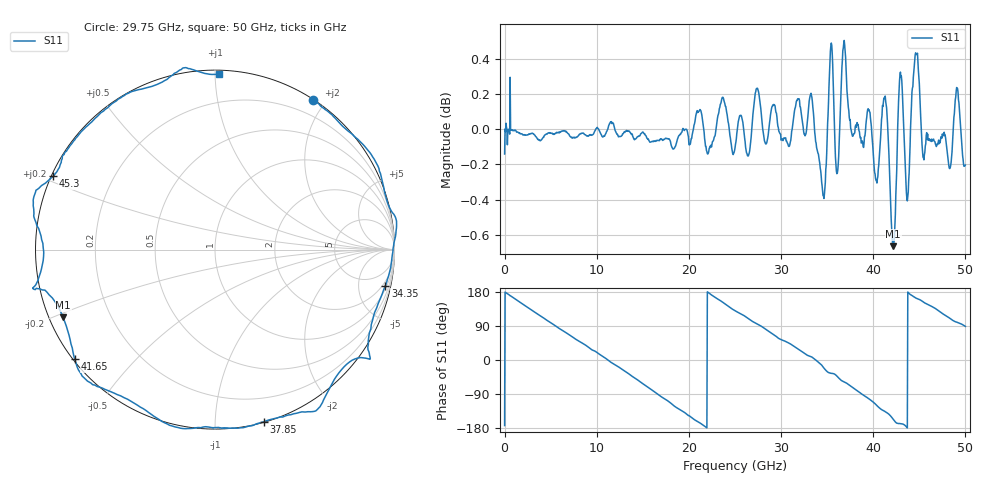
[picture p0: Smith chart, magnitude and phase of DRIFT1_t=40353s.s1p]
!Created with skrf (http://scikit-rf.org).
# Hz S RI R 50.0
!freq ReS11 ImS11
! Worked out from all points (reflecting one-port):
!   1001 points, 300 kHz to 50 GHz, reference 50 ohm
!   lowest |S11| = -0.7 dB at 42.15 GHz (marker M1), VSWR 26.17, Z = 2 - j10.6 ohm
!   phase of S11 starts at -173 deg and turns -818 deg over the sweep
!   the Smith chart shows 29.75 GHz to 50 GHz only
!   S11 on the Smith chart (normalised r, x): 29.75 GHz: 0.00, +1.85; 34.35 GHz: 1.37, -9.34; 37.85 GHz: 0.00, -1.32; 41.65 GHz: 0.01, -0.34; 45.3 GHz: 0.01, +0.22; 50 GHz: 0.02, +1.02
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300000  -0.9767 -0.1191
1.450291e9  -0.9125 0.4044
3.25028e9  -0.5923 0.8011
6.250262e9  0.2009 0.9785
9.500243e9  0.8918 0.4439
1.250022e10  0.9322 -0.3487
1.580021e10  0.2398 -0.9622
1.74002e10  -0.2215 -0.9688
1.875019e10  -0.5975 -0.7937
2.150017e10  -0.9925 -0.1563
2.350016e10  -0.9244 0.4264
2.500015e10  -0.6343 0.7572
2.740014e10  -0.0982 1.023
2.975012e10  0.5473 0.8356
3.125011e10  0.7854 0.6228
3.31501e10  1.007 0.1752
3.435009e10  0.949 -0.2012
3.525009e10  0.8598 -0.5786
3.750008e10  0.3772 -0.933
3.785007e10  0.2732 -0.9585
3.960006e10  -0.2354 -0.9837
4.165005e10  -0.7815 -0.6094
4.215005e10  -0.8463 -0.3767
4.290004e10  -1.013 -0.2182
4.375004e10  -0.9572 0.0107
4.530003e10  -0.9005 0.4101
4.770001e10  -0.4944 0.867
5e10  0.0215 0.9767
